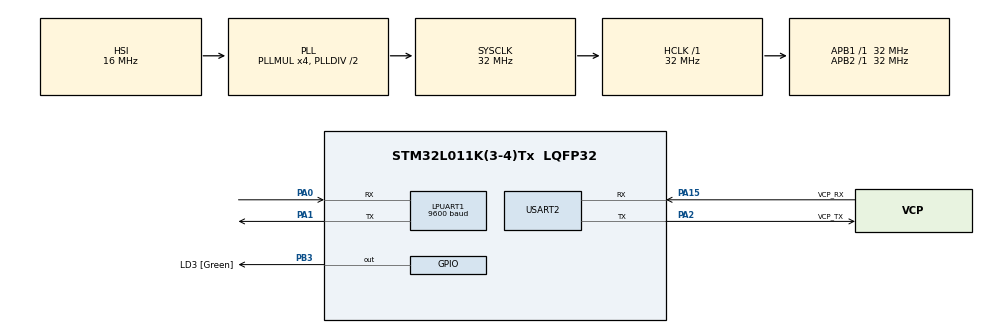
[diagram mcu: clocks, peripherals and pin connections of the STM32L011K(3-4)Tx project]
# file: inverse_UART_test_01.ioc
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LPUART1.BaudRate=9600
Mcu.Family=STM32L0
Mcu.Name=STM32L011K(3-4)Tx
Mcu.Package=LQFP32
NVIC.LPUART1_IRQn=true\:0\:0\:false\:false\:true\:true\:true\:true
PA0-CK_IN.Mode=Asynchronous
PA0-CK_IN.Signal=LPUART1_RX
PA1.Mode=Asynchronous
PA1.Signal=LPUART1_TX
PA13.GPIO_Label=TMS
PA13.Mode=Serial_Wire
PA13.Signal=SYS_SWDIO
PA14.GPIO_Label=TCK
PA14.Mode=Serial_Wire
PA14.Signal=SYS_SWCLK
PA15.GPIO_Label=VCP_RX
PA15.Mode=Asynchronous
PA15.Signal=USART2_RX
PA2.GPIO_Label=VCP_TX
PA2.Mode=Asynchronous
PA2.Signal=USART2_TX
PB3.GPIO_Label=LD3 [Green]
PB3.Signal=GPIO_Output
PC14-OSC32_IN.Mode=LSE-External-Oscillator
PC14-OSC32_IN.Signal=RCC_OSC32_IN
PC15-OSC32_OUT.Mode=LSE-External-Oscillator
PC15-OSC32_OUT.Signal=RCC_OSC32_OUT
ProjectManager.HeapSize=0x200
ProjectManager.StackSize=0x400
ProjectManager.TargetToolchain=STM32CubeIDE
RCC.AHBFreq_Value=32000000
RCC.APB1Freq_Value=32000000
RCC.APB1TimFreq_Value=32000000
RCC.APB2Freq_Value=32000000
RCC.APB2TimFreq_Value=32000000
RCC.HCLKFreq_Value=32000000
RCC.HSE_VALUE=8000000
RCC.HSI16_VALUE=16000000
RCC.HSI48_VALUE=48000000
RCC.HSI_VALUE=16000000
RCC.MSI_VALUE=2097000
RCC.PLLMUL=RCC_PLLMUL_4
RCC.SYSCLKFreq_VALUE=32000000
RCC.SYSCLKSource=RCC_SYSCLKSOURCE_PLLCLK
RCC.VCOOutputFreq_Value=64000000
USART2.VirtualMode-Asynchronous=VM_ASYNC
board=NUCLEO-L011K4

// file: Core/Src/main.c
/* USER CODE BEGIN Header */
/**
  ******************************************************************************
  * @file           : main.c
  * @brief          : Main program body
  ******************************************************************************
  * @attention
  *
  * Copyright (c) 2025 STMicroelectronics.
  * All rights reserved.
  *
  * This software is licensed under terms that can be found in the LICENSE file
  * in the root directory of this software component.
  * If no LICENSE file comes with this software, it is provided AS-IS.
  *
  ******************************************************************************
  */
/* USER CODE END Header */
#include "main.h"

UART_HandleTypeDef hlpuart1;
UART_HandleTypeDef huart2;

/* USER CODE BEGIN PV */
#define RX_BUF_SIZE 64

volatile uint8_t rx_byte;
volatile uint8_t rx_buffer[RX_BUF_SIZE];
volatile uint8_t rx_index = 0;
uint8_t data[10]="Think";
volatile uint8_t counter =0;
volatile uint32_t last_data_tick = 0;
#define TIMEOUT_MS  30000  // 30 seconds
volatile uint8_t stopmode_flag=1;
/* USER CODE END PV */

void SystemClock_Config(void);
static void MX_GPIO_Init(void);
static void MX_LPUART1_UART_Init(void);
static void MX_USART2_UART_Init(void);

/* USER CODE BEGIN 0 */

void HAL_UART_RxCpltCallback(UART_HandleTypeDef *huart)
{
    if (huart->Instance == USART2)
    {
        rx_buffer[rx_index++] = rx_byte;

        if (rx_index >= RX_BUF_SIZE)
        {
            rx_index = 0; // Handle overflow if needed
            //HAL_UART_Transmit_DMA(&huart2, &rx_buffer, 64);
        }
        // Rearm UART RX interrupt
        last_data_tick = HAL_GetTick();
        HAL_UART_Receive_IT(&huart2, &rx_byte, 1);

    }

}
void HAL_GPIO_EXTI_Callback(uint16_t GPIO_Pin)
{
  if(GPIO_Pin == GPIO_PIN_12 && stopmode_flag == 1)
  {
	  counter++;
	  SystemClock_Config ();
	  HAL_ResumeTick();
	  HAL_PWR_DisableSleepOnExit();

	  HAL_UART_Receive_IT(&huart2, &rx_byte, 1);
	  last_data_tick = HAL_GetTick();  // Start timer from now
	  stopmode_flag = 0;
  }
}

/* USER CODE END 0 */

int main(void)
{

  /* MCU Configuration--------------------------------------------------------*/

  /* Reset of all peripherals, Initializes the Flash interface and the Systick. */
  HAL_Init();

  /* Configure the system clock */
  SystemClock_Config();

  /* Initialize all configured peripherals */
  MX_GPIO_Init();
  MX_LPUART1_UART_Init();
  MX_USART2_UART_Init();
  /* USER CODE BEGIN 2 */

    /*Suspend tick and enter STOP mode*/

    HAL_SuspendTick();
    HAL_PWR_EnableSleepOnExit();
    HAL_PWR_EnterSTOPMode(PWR_LOWPOWERREGULATOR_ON, PWR_STOPENTRY_WFI);

  /* USER CODE END 2 */

  /* Infinite loop */
  while (1)
  {

    /* USER CODE BEGIN 3 */
	  HAL_GPIO_TogglePin(GPIOB,GPIO_PIN_3);
	  HAL_Delay(1000);
	  counter++;
	    if ((HAL_GetTick() - last_data_tick) >= TIMEOUT_MS)
	    {
	    	stopmode_flag=1;
	      HAL_GPIO_WritePin(GPIOB, GPIO_PIN_3, GPIO_PIN_RESET);
	      HAL_SuspendTick();
	      HAL_PWR_EnableSleepOnExit();
	      HAL_PWR_EnterSTOPMode(PWR_LOWPOWERREGULATOR_ON, PWR_STOPENTRY_WFI);
	    }
  }
  /* USER CODE END 3 */
}

void SystemClock_Config(void)
{
  RCC_OscInitTypeDef RCC_OscInitStruct = {0};
  RCC_ClkInitTypeDef RCC_ClkInitStruct = {0};
  RCC_PeriphCLKInitTypeDef PeriphClkInit = {0};

  /** Configure the main internal regulator output voltage
  */
  __HAL_PWR_VOLTAGESCALING_CONFIG(PWR_REGULATOR_VOLTAGE_SCALE1);

  /** Initializes the RCC Oscillators according to the specified parameters
  * in the RCC_OscInitTypeDef structure.
  */
  RCC_OscInitStruct.OscillatorType = RCC_OSCILLATORTYPE_HSI;
  RCC_OscInitStruct.HSIState = RCC_HSI_ON;
  RCC_OscInitStruct.HSICalibrationValue = RCC_HSICALIBRATION_DEFAULT;
  RCC_OscInitStruct.PLL.PLLState = RCC_PLL_ON;
  RCC_OscInitStruct.PLL.PLLSource = RCC_PLLSOURCE_HSI;
  RCC_OscInitStruct.PLL.PLLMUL = RCC_PLLMUL_4;
  RCC_OscInitStruct.PLL.PLLDIV = RCC_PLLDIV_2;
  if (HAL_RCC_OscConfig(&RCC_OscInitStruct) != HAL_OK)
  {
    Error_Handler();
  }

  /** Initializes the CPU, AHB and APB buses clocks
  */
  RCC_ClkInitStruct.ClockType = RCC_CLOCKTYPE_HCLK|RCC_CLOCKTYPE_SYSCLK
                              |RCC_CLOCKTYPE_PCLK1|RCC_CLOCKTYPE_PCLK2;
  RCC_ClkInitStruct.SYSCLKSource = RCC_SYSCLKSOURCE_PLLCLK;
  RCC_ClkInitStruct.AHBCLKDivider = RCC_SYSCLK_DIV1;
  RCC_ClkInitStruct.APB1CLKDivider = RCC_HCLK_DIV1;
  RCC_ClkInitStruct.APB2CLKDivider = RCC_HCLK_DIV1;

  if (HAL_RCC_ClockConfig(&RCC_ClkInitStruct, FLASH_LATENCY_1) != HAL_OK)
  {
    Error_Handler();
  }
  PeriphClkInit.PeriphClockSelection = RCC_PERIPHCLK_USART2|RCC_PERIPHCLK_LPUART1;
  PeriphClkInit.Usart2ClockSelection = RCC_USART2CLKSOURCE_PCLK1;
  PeriphClkInit.Lpuart1ClockSelection = RCC_LPUART1CLKSOURCE_PCLK1;
  if (HAL_RCCEx_PeriphCLKConfig(&PeriphClkInit) != HAL_OK)
  {
    Error_Handler();
  }
}

static void MX_LPUART1_UART_Init(void)
{

  hlpuart1.Instance = LPUART1;
  hlpuart1.Init.BaudRate = 9600;
  hlpuart1.Init.WordLength = UART_WORDLENGTH_7B;
  hlpuart1.Init.StopBits = UART_STOPBITS_1;
  hlpuart1.Init.Parity = UART_PARITY_NONE;
  hlpuart1.Init.Mode = UART_MODE_TX_RX;
  hlpuart1.Init.HwFlowCtl = UART_HWCONTROL_NONE;
  hlpuart1.Init.OneBitSampling = UART_ONE_BIT_SAMPLE_DISABLE;
  hlpuart1.AdvancedInit.AdvFeatureInit = UART_ADVFEATURE_NO_INIT;
  if (HAL_UART_Init(&hlpuart1) != HAL_OK)
  {
    Error_Handler();
  }

}

static void MX_USART2_UART_Init(void)
{

  huart2.Instance = USART2;
  huart2.Init.BaudRate = 9600;
  huart2.Init.WordLength = UART_WORDLENGTH_8B;
  huart2.Init.StopBits = UART_STOPBITS_1;
  huart2.Init.Parity = UART_PARITY_NONE;
  huart2.Init.Mode = UART_MODE_TX_RX;
  huart2.Init.HwFlowCtl = UART_HWCONTROL_NONE;
  huart2.Init.OverSampling = UART_OVERSAMPLING_16;
  huart2.Init.OneBitSampling = UART_ONE_BIT_SAMPLE_DISABLE;
  huart2.AdvancedInit.AdvFeatureInit = UART_ADVFEATURE_NO_INIT;
  if (HAL_UART_Init(&huart2) != HAL_OK)
  {
    Error_Handler();
  }

}

static void MX_GPIO_Init(void)
{
  GPIO_InitTypeDef GPIO_InitStruct = {0};

  /* GPIO Ports Clock Enable */
  __HAL_RCC_GPIOC_CLK_ENABLE();
  __HAL_RCC_GPIOA_CLK_ENABLE();
  __HAL_RCC_GPIOB_CLK_ENABLE();

  /*Configure GPIO pin Output Level */
  HAL_GPIO_WritePin(LD3_GPIO_Port, LD3_Pin, GPIO_PIN_RESET);

  /*Configure GPIO pin : LD3_Pin */
  GPIO_InitStruct.Pin = LD3_Pin;
  GPIO_InitStruct.Mode = GPIO_MODE_OUTPUT_PP;
  GPIO_InitStruct.Pull = GPIO_NOPULL;
  GPIO_InitStruct.Speed = GPIO_SPEED_FREQ_LOW;
  HAL_GPIO_Init(LD3_GPIO_Port, &GPIO_InitStruct);

}

void Error_Handler(void)
{
  __disable_irq();
  while (1)
  {
  }
}
